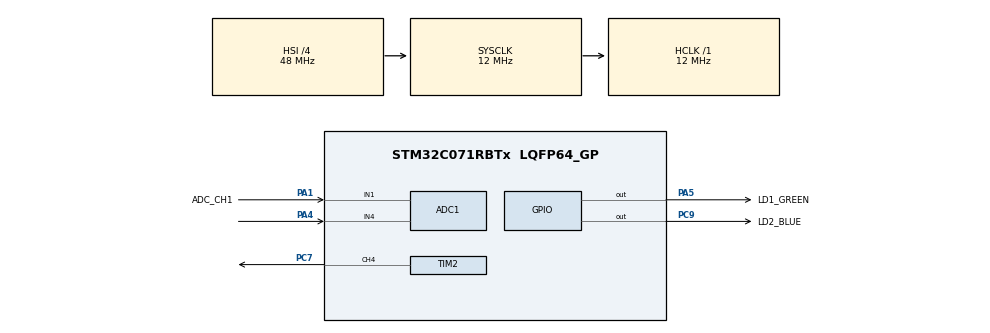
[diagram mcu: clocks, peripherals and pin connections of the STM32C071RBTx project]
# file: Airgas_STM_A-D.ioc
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ADC1.ClockPrescaler=ADC_CLOCK_ASYNC_DIV4
ADC1.ContinuousConvMode=DISABLE
ADC1.DMAContinuousRequests=ENABLE
ADC1.DiscontinuousConvMode=DISABLE
ADC1.EOCSelection=ADC_EOC_SEQ_CONV
ADC1.NbrOfConversionFlag=0
ADC1.SamplingTimeCommon1=ADC_SAMPLETIME_12CYCLES_5
ADC1.SelectedChannel=ADC_CHANNEL_1|ADC_CHANNEL_4
ADC1.master=1
Dma.ADC1.0.Direction=DMA_PERIPH_TO_MEMORY
Dma.ADC1.0.EventEnable=DISABLE
Dma.ADC1.0.Instance=DMA1_Channel1
Dma.ADC1.0.MemDataAlignment=DMA_MDATAALIGN_WORD
Dma.ADC1.0.MemInc=DMA_MINC_ENABLE
Dma.ADC1.0.Mode=DMA_NORMAL
Dma.ADC1.0.PeriphDataAlignment=DMA_PDATAALIGN_HALFWORD
Dma.ADC1.0.PeriphInc=DMA_PINC_DISABLE
Dma.ADC1.0.Polarity=HAL_DMAMUX_REQ_GEN_RISING
Dma.ADC1.0.Priority=DMA_PRIORITY_LOW
Dma.ADC1.0.RequestNumber=1
Dma.ADC1.0.SignalID=NONE
Dma.ADC1.0.SyncEnable=DISABLE
Dma.ADC1.0.SyncPolarity=HAL_DMAMUX_SYNC_NO_EVENT
Dma.ADC1.0.SyncRequestNumber=1
Dma.ADC1.0.SyncSignalID=NONE
Dma.Request0=ADC1
Mcu.Family=STM32C0
Mcu.Name=STM32C071RBTx
Mcu.Package=LQFP64_GP
NUCLEO-C071RB.BUTTON=1
NUCLEO-C071RB.LD1=false
NUCLEO-C071RB.LD2=false
NUCLEO-C071RB.VCP=true
NVIC.DMA1_Channel1_IRQn=true\:0\:0\:false\:false\:true\:true\:true\:true
NVIC.EXTI4_15_IRQn=true\:0\:0\:false\:false\:true\:false\:true\:true
PA1.GPIO_Label=ADC_CH1
PA1.Mode=IN1
PA1.Signal=ADC1_IN1
PA13.GPIO_Label=SWDIO
PA13.Signal=DEBUG_SWDIO
PA14-BOOT0.GPIO_Label=SWCLK
PA14-BOOT0.Signal=DEBUG_SWCLK
PA2.Signal=USART2_TX
PA3.Signal=USART2_RX
PA4.Mode=IN4
PA4.Signal=ADC1_IN4
PA5.GPIO_Label=LD1_GREEN
PA5.GPIO_PuPd=GPIO_PULLDOWN
PA5.GPIO_Speed=GPIO_SPEED_FREQ_VERY_HIGH
PA5.PinState=GPIO_PIN_RESET
PA5.Signal=GPIO_Output
PC14-OSCX_IN(PC14).GPIO_Label=OSCX_IN
PC14-OSCX_IN(PC14).Signal=RCC_OSCX_IN
PC15-OSCX_OUT(PC15).GPIO_Label=OSCX_OUT
PC15-OSCX_OUT(PC15).Signal=RCC_OSCX_OUT
PC7.GPIO_PuPd=GPIO_NOPULL
PC7.Signal=S_TIM2_CH4
PC9.GPIO_Label=LD2_BLUE
PC9.GPIO_PuPd=GPIO_PULLUP
PC9.GPIO_Speed=GPIO_SPEED_FREQ_VERY_HIGH
PC9.PinState=GPIO_PIN_RESET
PC9.Signal=GPIO_Output
PF0-OSC_IN(PF0).GPIO_Label=OSC_IN
PF0-OSC_IN(PF0).Signal=RCC_OSC_IN
PF1-OSC_OUT(PF1).GPIO_Label=OSC_OUT
PF1-OSC_OUT(PF1).Signal=RCC_OSC_OUT
ProjectManager.HeapSize=0x200
ProjectManager.StackSize=0x400
ProjectManager.TargetToolchain=CMake
RCC.ADCFreq_Value=12000000
RCC.AHBFreq_Value=12000000
RCC.CortexFreq_Value=12000000
RCC.EXTERNAL_CLOCK_VALUE=12288000
RCC.HCLKFreq_Value=12000000
RCC.HSE_VALUE=8000000
RCC.HSI48_VALUE=48000000
RCC.HSI_VALUE=48000000
RCC.LSE_VALUE=32768
RCC.SYSCLKFreq_VALUE=12000000
SH.S_TIM2_CH4.0=TIM2_CH4,PWM Generation4 CH4
TIM2.Channel-PWM\ Generation4\ CH4=TIM_CHANNEL_4
VP_NUCLEO-C071RB_VS_BSP_COMMON.Mode=COMMON
VP_TIM2_VS_ClockSourceINT.Mode=Internal
board=NUCLEO-C071RB

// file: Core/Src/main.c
/* USER CODE BEGIN Header */
/**
  ******************************************************************************
  * @file           : main.c
  * @brief          : Main program body
  ******************************************************************************
  * @attention
  *
  * Copyright (c) 2026 STMicroelectronics.
  * All rights reserved.
  *
  * This software is licensed under terms that can be found in the LICENSE file
  * in the root directory of this software component.
  * If no LICENSE file comes with this software, it is provided AS-IS.
  *
  ******************************************************************************
  */
/* USER CODE END Header */
#include "main.h"

/* USER CODE BEGIN Includes */
/* usually wrap the header include for the c file (ie wraping #include file.h with #def #undef in file.c)
 * wasn't doing it for this, but it's very nice for things like this
 * see config.h for more info
 */
#define CORE_INC_CONFIG_C_
#include "config.h" /* project level configs like versioning etc */
#undef  CORE_INC_CONFIG_C_

#include "sftw_pwm.h"
#include "dmaAdc.h"
#include "stateM_wPwm.h"
#include "stateM_wLed.h"

/* USER CODE END Includes */

COM_InitTypeDef BspCOMInit;
ADC_HandleTypeDef hadc1;
DMA_HandleTypeDef hdma_adc1;

TIM_HandleTypeDef htim2;

void SystemClock_Config(void);
static void MX_GPIO_Init(void);
static void MX_DMA_Init(void);
static void MX_ADC1_Init(void);
static void MX_TIM2_Init(void);

int main(void)
{

  /* MCU Configuration--------------------------------------------------------*/

  /* Reset of all peripherals, Initializes the Flash interface and the Systick. */
  HAL_Init();

  /* Configure the system clock */
  SystemClock_Config();

  /* Initialize all configured peripherals */
  MX_GPIO_Init();
  MX_DMA_Init();
  MX_ADC1_Init();
  MX_TIM2_Init();

  /* Initialize USER push-button, will be used to trigger an interrupt each time it's pressed.*/
  BSP_PB_Init(BUTTON_USER, BUTTON_MODE_EXTI);

  /* Initialize COM1 port (115200, 8 bits (7-bit data + 1 stop bit), no parity */
  BspCOMInit.BaudRate   = 115200;
  BspCOMInit.WordLength = COM_WORDLENGTH_8B;
  BspCOMInit.StopBits   = COM_STOPBITS_1;
  BspCOMInit.Parity     = COM_PARITY_NONE;
  BspCOMInit.HwFlowCtl  = COM_HWCONTROL_NONE;
  if (BSP_COM_Init(COM1, &BspCOMInit) != BSP_ERROR_NONE)
  {
    Error_Handler();
  }

  /* Infinite loop */
  /* USER CODE BEGIN WHILE */
  /* I set things up to just use gpio port/ pin with the Hal functions. didn't realize the built in LEDS were treated differently and only exposed their port/ pin in the .c file */
  SftwPwm_t testLed2 = SftwPwm(LD2_BLUE_GPIO_Port,  LD2_BLUE_Pin,  false);
  SftwPwm_t testLed1 = SftwPwm(LD1_GREEN_GPIO_Port, LD1_GREEN_Pin, true);
  EnableSftwPwm(&testLed1);

//  UpdateSftwPwm(&testLed2, (uint32_t) 2000);
//  EnableSftwPwm(&testLed2);

  /* setup pwm pin to default 100hz at 0% duty */
  htim2.Instance->ARR  = (12000000 / 100);
  htim2.Instance->CCR4 = 0;
  HAL_TIM_PWM_Start(&htim2, TIM_CHANNEL_4);

  /* setup adc dma channels */
  DmaAdcStart(&hadc1);

  while (1)
  {
    /* USER CODE END WHILE */

    /* USER CODE BEGIN 3 */
      ServiceState_wLed(&testLed1);
      ServiceState_wPwm(&testLed2, &htim2, TIM_CHANNEL_4);
      ServiceSftwPwm(&testLed1);
      ServiceSftwPwm(&testLed2);
  }
  /* USER CODE END 3 */
}

void SystemClock_Config(void)
{
  RCC_OscInitTypeDef RCC_OscInitStruct = {0};
  RCC_ClkInitTypeDef RCC_ClkInitStruct = {0};

  __HAL_FLASH_SET_LATENCY(FLASH_LATENCY_0);

  /** Initializes the RCC Oscillators according to the specified parameters
  * in the RCC_OscInitTypeDef structure.
  */
  RCC_OscInitStruct.OscillatorType = RCC_OSCILLATORTYPE_HSI;
  RCC_OscInitStruct.HSIState = RCC_HSI_ON;
  RCC_OscInitStruct.HSIDiv = RCC_HSI_DIV4;
  RCC_OscInitStruct.HSICalibrationValue = RCC_HSICALIBRATION_DEFAULT;
  if (HAL_RCC_OscConfig(&RCC_OscInitStruct) != HAL_OK)
  {
    Error_Handler();
  }

  /** Initializes the CPU, AHB and APB buses clocks
  */
  RCC_ClkInitStruct.ClockType = RCC_CLOCKTYPE_HCLK|RCC_CLOCKTYPE_SYSCLK
                              |RCC_CLOCKTYPE_PCLK1;
  RCC_ClkInitStruct.SYSCLKSource = RCC_SYSCLKSOURCE_HSI;
  RCC_ClkInitStruct.SYSCLKDivider = RCC_SYSCLK_DIV1;
  RCC_ClkInitStruct.AHBCLKDivider = RCC_HCLK_DIV1;
  RCC_ClkInitStruct.APB1CLKDivider = RCC_APB1_DIV1;

  if (HAL_RCC_ClockConfig(&RCC_ClkInitStruct, FLASH_LATENCY_0) != HAL_OK)
  {
    Error_Handler();
  }
}

static void MX_ADC1_Init(void)
{

  ADC_ChannelConfTypeDef sConfig = {0};

  /** Configure the global features of the ADC (Clock, Resolution, Data Alignment and number of conversion)
  */
  hadc1.Instance = ADC1;
  hadc1.Init.ClockPrescaler = ADC_CLOCK_ASYNC_DIV4;
  hadc1.Init.Resolution = ADC_RESOLUTION_12B;
  hadc1.Init.DataAlign = ADC_DATAALIGN_RIGHT;
  hadc1.Init.ScanConvMode = ADC_SCAN_SEQ_FIXED;
  hadc1.Init.EOCSelection = ADC_EOC_SEQ_CONV;
  hadc1.Init.LowPowerAutoWait = DISABLE;
  hadc1.Init.LowPowerAutoPowerOff = DISABLE;
  hadc1.Init.ContinuousConvMode = DISABLE;
  hadc1.Init.NbrOfConversion = 1;
  hadc1.Init.DiscontinuousConvMode = DISABLE;
  hadc1.Init.ExternalTrigConv = ADC_SOFTWARE_START;
  hadc1.Init.ExternalTrigConvEdge = ADC_EXTERNALTRIGCONVEDGE_NONE;
  hadc1.Init.DMAContinuousRequests = ENABLE;
  hadc1.Init.Overrun = ADC_OVR_DATA_PRESERVED;
  hadc1.Init.SamplingTimeCommon1 = ADC_SAMPLETIME_12CYCLES_5;
  hadc1.Init.OversamplingMode = DISABLE;
  hadc1.Init.TriggerFrequencyMode = ADC_TRIGGER_FREQ_HIGH;
  if (HAL_ADC_Init(&hadc1) != HAL_OK)
  {
    Error_Handler();
  }

  /** Configure Regular Channel
  */
  sConfig.Channel = ADC_CHANNEL_1;
  sConfig.Rank = ADC_RANK_CHANNEL_NUMBER;
  if (HAL_ADC_ConfigChannel(&hadc1, &sConfig) != HAL_OK)
  {
    Error_Handler();
  }

  /** Configure Regular Channel
  */
  sConfig.Channel = ADC_CHANNEL_4;
  if (HAL_ADC_ConfigChannel(&hadc1, &sConfig) != HAL_OK)
  {
    Error_Handler();
  }

}

static void MX_TIM2_Init(void)
{

  TIM_ClockConfigTypeDef sClockSourceConfig = {0};
  TIM_MasterConfigTypeDef sMasterConfig = {0};
  TIM_OC_InitTypeDef sConfigOC = {0};

  htim2.Instance = TIM2;
  htim2.Init.Prescaler = 0;
  htim2.Init.CounterMode = TIM_COUNTERMODE_UP;
  htim2.Init.Period = 4294967295;
  htim2.Init.ClockDivision = TIM_CLOCKDIVISION_DIV1;
  htim2.Init.AutoReloadPreload = TIM_AUTORELOAD_PRELOAD_DISABLE;
  if (HAL_TIM_Base_Init(&htim2) != HAL_OK)
  {
    Error_Handler();
  }
  sClockSourceConfig.ClockSource = TIM_CLOCKSOURCE_INTERNAL;
  if (HAL_TIM_ConfigClockSource(&htim2, &sClockSourceConfig) != HAL_OK)
  {
    Error_Handler();
  }
  if (HAL_TIM_PWM_Init(&htim2) != HAL_OK)
  {
    Error_Handler();
  }
  sMasterConfig.MasterOutputTrigger = TIM_TRGO_RESET;
  sMasterConfig.MasterSlaveMode = TIM_MASTERSLAVEMODE_DISABLE;
  if (HAL_TIMEx_MasterConfigSynchronization(&htim2, &sMasterConfig) != HAL_OK)
  {
    Error_Handler();
  }
  sConfigOC.OCMode = TIM_OCMODE_PWM1;
  sConfigOC.Pulse = 0;
  sConfigOC.OCPolarity = TIM_OCPOLARITY_HIGH;
  sConfigOC.OCFastMode = TIM_OCFAST_DISABLE;
  if (HAL_TIM_PWM_ConfigChannel(&htim2, &sConfigOC, TIM_CHANNEL_4) != HAL_OK)
  {
    Error_Handler();
  }
  HAL_TIM_MspPostInit(&htim2);

}

static void MX_DMA_Init(void)
{

  /* DMA controller clock enable */
  __HAL_RCC_DMA1_CLK_ENABLE();

  /* DMA interrupt init */
  /* DMA1_Channel1_IRQn interrupt configuration */
  HAL_NVIC_SetPriority(DMA1_Channel1_IRQn, 0, 0);
  HAL_NVIC_EnableIRQ(DMA1_Channel1_IRQn);

}

static void MX_GPIO_Init(void)
{
  GPIO_InitTypeDef GPIO_InitStruct = {0};

  /* GPIO Ports Clock Enable */
  __HAL_RCC_GPIOC_CLK_ENABLE();
  __HAL_RCC_GPIOF_CLK_ENABLE();
  __HAL_RCC_GPIOA_CLK_ENABLE();

  /*Configure GPIO pin Output Level */
  HAL_GPIO_WritePin(LD1_GREEN_GPIO_Port, LD1_GREEN_Pin, GPIO_PIN_RESET);

  /*Configure GPIO pin Output Level */
  HAL_GPIO_WritePin(LD2_BLUE_GPIO_Port, LD2_BLUE_Pin, GPIO_PIN_RESET);

  /*Configure GPIO pin : LD1_GREEN_Pin */
  GPIO_InitStruct.Pin = LD1_GREEN_Pin;
  GPIO_InitStruct.Mode = GPIO_MODE_OUTPUT_PP;
  GPIO_InitStruct.Pull = GPIO_PULLDOWN;
  GPIO_InitStruct.Speed = GPIO_SPEED_FREQ_VERY_HIGH;
  HAL_GPIO_Init(LD1_GREEN_GPIO_Port, &GPIO_InitStruct);

  /*Configure GPIO pin : LD2_BLUE_Pin */
  GPIO_InitStruct.Pin = LD2_BLUE_Pin;
  GPIO_InitStruct.Mode = GPIO_MODE_OUTPUT_PP;
  GPIO_InitStruct.Pull = GPIO_PULLUP;
  GPIO_InitStruct.Speed = GPIO_SPEED_FREQ_VERY_HIGH;
  HAL_GPIO_Init(LD2_BLUE_GPIO_Port, &GPIO_InitStruct);

  /* USER CODE BEGIN MX_GPIO_Init_2 */
  /* to prevent autogenerated code from bliping the led on on reset */
  HAL_GPIO_WritePin(LD2_BLUE_GPIO_Port, LD2_BLUE_Pin, GPIO_PIN_SET);
  /* USER CODE END MX_GPIO_Init_2 */
}

void Error_Handler(void)
{
  __disable_irq();
  while (1)
  {
  }
}
